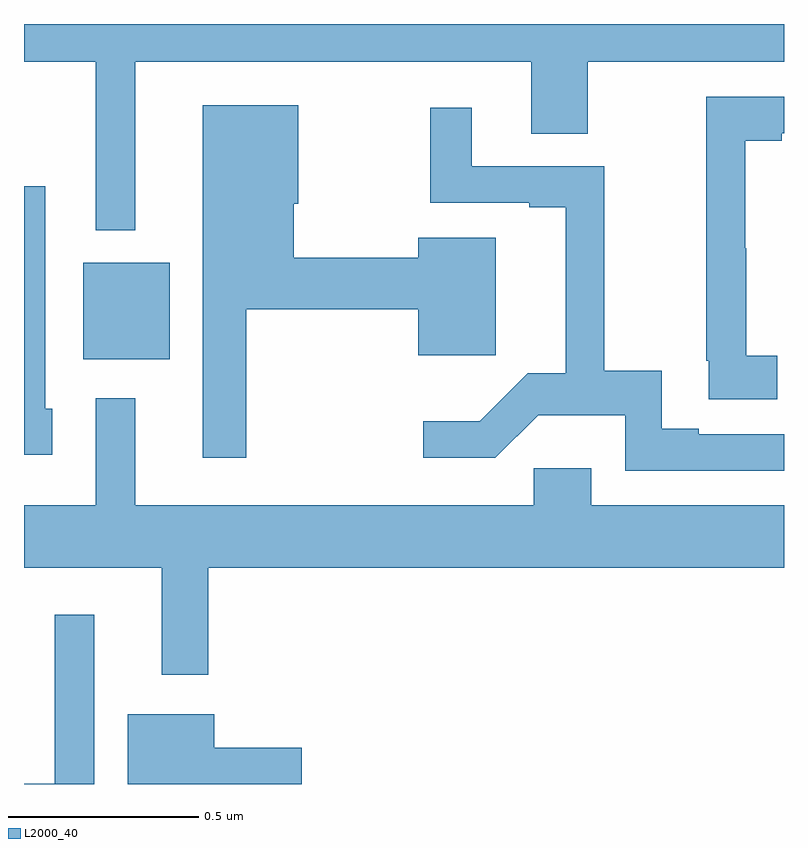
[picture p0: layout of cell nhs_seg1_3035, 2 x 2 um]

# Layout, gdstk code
import gdstk
lib = gdstk.Library(unit=1e-6, precision=1e-09)
def R(c, l, rs):  # rectangles x0, y0, x1, y1
    for r in rs: c.add(gdstk.rectangle(r[:2], r[2:], *l))
def P(c, l, *ps):  # polygons
    for p in ps: c.add(gdstk.Polygon(p, *l))
L2000_40 = (2000, 40)

nhs_seg1_3035 = lib.new_cell('nhs_seg1_3035')
R(nhs_seg1_3035, L2000_40, [(149.156,516.317,149.383,516.571)])
P(nhs_seg1_3035, L2000_40, [(149.293,517.1),(150.335,517.1),(150.335,516.91),(150.483,516.91),(150.483,517.1),(151,517.1),(151,517.199),(149,517.199),(149,517.1),(149.189,517.1),(149.189,516.656),(149.293,516.656)],
  [(150.982,516.326),(150.9,516.326),(150.9,516.609),(150.898,516.609),(150.898,516.892),(150.994,516.892),(150.994,516.912),(151,516.912),(151,517.008),(150.796,517.008),(150.796,516.313),(150.802,516.313),(150.802,516.211),(150.982,516.211)],
  [(149.585,516.448),(150.038,516.448),(150.038,516.327),(150.241,516.327),(150.241,516.637),(150.038,516.637),(150.038,516.584),(149.71,516.584),(149.71,516.726),(149.722,516.726),(149.722,516.985),(149.471,516.985),(149.471,516.057),(149.585,516.057)],
  [(151,516.12),(150.775,516.12),(150.775,516.134),(150.678,516.134),(150.678,516.287),(150.527,516.287),(150.527,516.825),(150.178,516.825),(150.178,516.979),(150.069,516.979),(150.069,516.729),(150.329,516.729),(150.329,516.717),(150.425,516.717),(150.425,516.28),(150.325,516.28),(150.199,516.154),(150.051,516.154),(150.051,516.057),(150.24,516.057),(150.353,516.17),(150.582,516.17),(150.582,516.024),(151,516.024)],
  [(149.074,516.186),(149.056,516.186),(149.056,516.772),(149,516.772),(149,516.065),(149.074,516.065)],
  [(149.485,515.768),(151,515.768),(151,515.932),(150.493,515.932),(150.493,516.03),(150.342,516.03),(150.342,515.932),(149.293,515.932),(149.293,516.214),(149.189,516.214),(149.189,515.932),(149,515.932),(149,515.768),(149.363,515.768),(149.363,515.487),(149.485,515.487)],
  [(149.185,515.644),(149.081,515.644),(149.081,515.2),(149,515.2),(149,515.199),(149.185,515.199)],
  [(149.731,515.295),(149.5,515.295),(149.5,515.383),(149.273,515.383),(149.273,515.199),(149.731,515.199)])

lib.write_gds('nhs_seg1_3035.gds')
